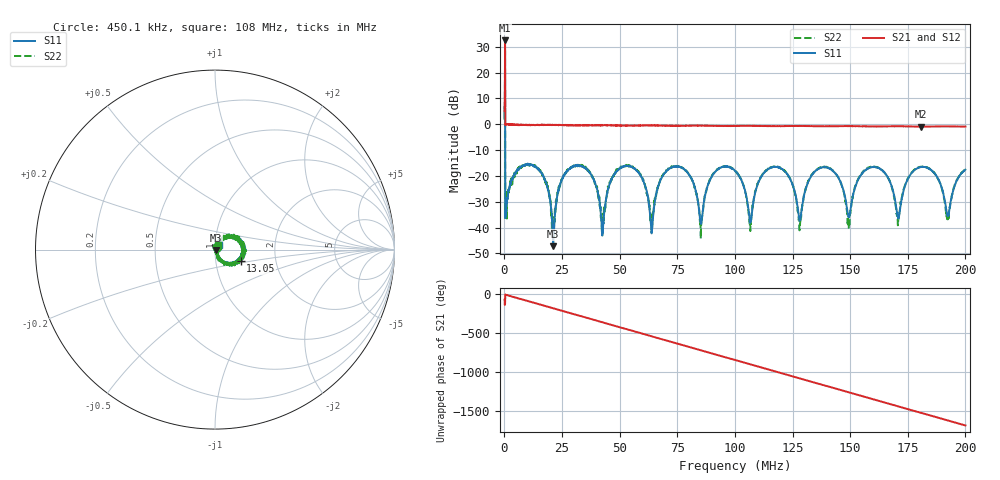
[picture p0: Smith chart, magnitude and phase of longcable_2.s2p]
! 26-Feb-26 11:14:37 AM
! E:\VNA_MEASUREMENTS\LONGCABLE\LONGCABLE_2.S2P
! CHANNEL.1
! TR.MEASUREMENT
! CORRECTED.DATA
# GHZ S RI R 50.0
! FREQ.GHZ  S11RE  S11IM  S21RE  S21IM  S12RE  S12IM  S22RE  S22IM
!; PortSelection: Port_12
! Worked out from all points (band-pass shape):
!   2000 points, 50 kHz to 200 MHz, reference 50 ohm
!   highest |S21| = 32.41 dB at 250 kHz (marker M1); lowest = -0.9 dB at 180.8 MHz (marker M2)
!   |S21| within 3 dB of the highest: 237 kHz to 259.3 kHz (22.27 kHz wide, 8.97 % of centre)
!   lowest |S11| = -47.2 dB at 21.16 MHz (marker M3), VSWR 1.01, Z = 50.4 - j0.141 ohm
!   |S11| at or under -10 dB: 309.4 kHz to end of sweep
!   |S22| runs from -44.3 to 29.6 dB; largest |S21 - S12| = 61
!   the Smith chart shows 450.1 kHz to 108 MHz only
!   S11 on the Smith chart (normalised r, x): 450.1 kHz: 1.02, +0.03; 13.05 MHz: 1.32, -0.18; 108 MHz: 1.04, +0.05
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5e-05  1.222 1.741  0.6693 -1.675  -0.1973 1.059  1.181 -0.3691
0.00025005  14.82 21.62  -23.94 -34.2  8.557 17.02  -13 -27.15
0.0004501  0.00991 0.0155  1 -0.0747  0.9911 -0.0691  0.0131 0.0125
0.0012503  0.0172 0.0326  0.991 -0.1958  0.9754 -0.1997  0.0273 0.0285
0.001350325  0.0165 0.031  0.9714 -0.2079  0.9705 -0.2152  0.0197 0.0335
0.01305325  0.1421 -0.0652  -0.3486 -0.8985  -0.3515 -0.9049  0.1412 -0.0657
0.02115528  0.00414 -0.0014  -0.9641 -0.000469  -0.9675 0.00224  0.00734 0.00271
0.03345835  0.1472 -0.0423  0.2334 0.9244  0.2296 0.9212  0.1519 -0.0437
0.04256063  0.00873 -0.00127  0.9475 -0.0184  0.9576 -0.0221  0.0136 -0.00298
0.05226306  0.155 0.0109  0.1051 -0.9375  0.1097 -0.9383  0.157 0.0106
0.06676668  0.0368 0.0525  -0.8478 0.4176  -0.847 0.4208  0.0385 0.0553
0.08457114  0.012 -0.0147  0.9393 0.0519  0.9374 0.0552  0.0111 -0.0162
0.100075  0.1033 -0.0714  -0.5665 -0.738  -0.5609 -0.7347  0.1043 -0.072
0.107977  0.0198 0.0249  -0.9044 0.2371  -0.8987 0.2368  0.0173 0.0239
0.1188797  0.1407 -0.0384  0.2611 0.8791  0.2592 0.8842  0.1408 -0.0423
0.128082  0.0134 -0.00247  0.9263 -0.0689  0.9241 -0.0716  0.00843 -0.00308
0.1333833  0.0846 0.0604  0.5991 -0.7009  0.5994 -0.7  0.0858 0.0635
0.1491873  0.0154 -0.00586  -0.9168 0.0435  -0.9202 0.0455  0.00995 -0.00544
0.1666917  0.0531 -0.0688  0.7929 0.449  0.7887 0.4511  0.0528 -0.0703
0.1807952  0.1482 -0.00079  0.00867 -0.8966  0.0068 -0.8964  0.1493 -0.005
0.1922981  0.0161 -0.00417  -0.9029 0.1088  -0.9045 0.1093  0.0142 -0.00318
0.2  0.1271 0.0363  -0.277 0.8556  -0.2766 0.8545  0.1267 0.0366
